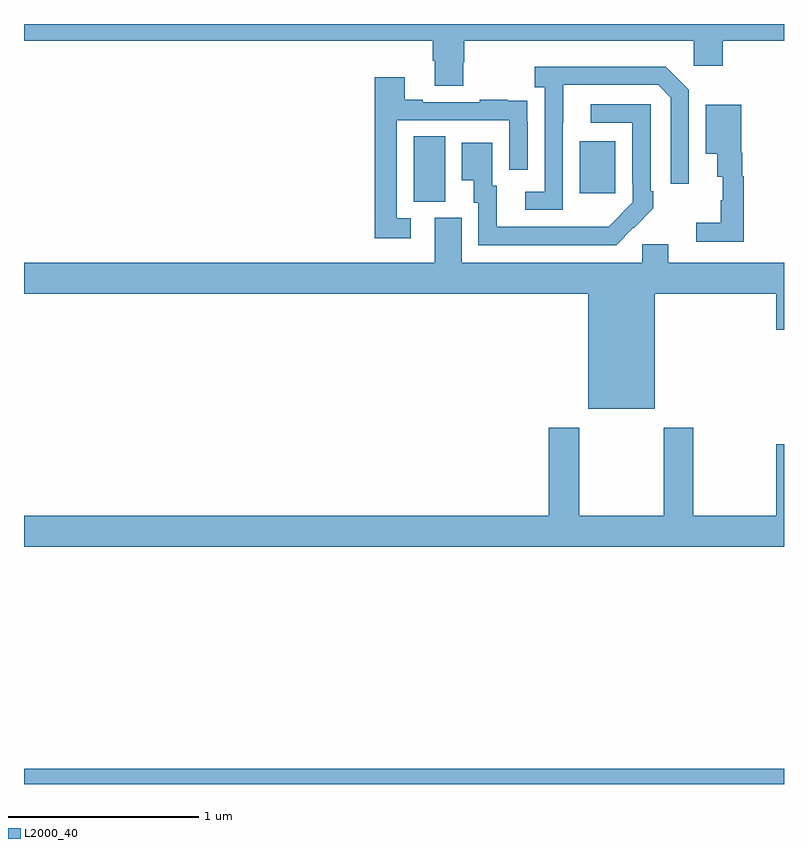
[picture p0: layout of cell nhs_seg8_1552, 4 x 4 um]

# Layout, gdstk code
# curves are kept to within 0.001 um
import gdstk
lib = gdstk.Library(unit=1e-6, precision=1e-09)
def R(c, l, rs):  # rectangles x0, y0, x1, y1
    for r in rs: c.add(gdstk.rectangle(r[:2], r[2:], *l))
def P(c, l, *ps):  # polygons
    for p in ps: c.add(gdstk.Polygon(p, *l))
L2000_40 = (2000, 40)

nhs_seg8_1552 = lib.new_cell('nhs_seg8_1552')
R(nhs_seg8_1552, L2000_40, [(209,1133.9,213,1133.98), (211.052,1136.965,211.216,1137.308), (211.925,1137.009,212.113,1137.283)])
P(nhs_seg8_1552, L2000_40, [(209,1137.812),(211.151,1137.812),(211.151,1137.706),(211.163,1137.706),(211.163,1137.574),(211.311,1137.574),(211.311,1137.699),(211.316,1137.699),(211.316,1137.812),(212.526,1137.812),(212.526,1137.681),(212.678,1137.681),(212.678,1137.812),(213,1137.812),(213,1137.9),(209,1137.9)],
  [(211.836,1137.379),(211.837,1137.579),(212.337,1137.579),(212.403,1137.513),(212.403,1137.06),(212.499,1137.06),(212.499,1137.555),(212.378,1137.676),(211.689,1137.676),(211.689,1137.566),(211.74,1137.566),(211.74,1137.018),(211.638,1137.018),(211.638,1136.922),(211.836,1136.922)],
  [(211.036,1136.877),(210.963,1136.877),(210.963,1137.393),(211.554,1137.393),(211.554,1137.132),(211.65,1137.132),(211.65,1137.386),(211.649,1137.386),(211.649,1137.495),(211.547,1137.495),(211.547,1137.502),(211.399,1137.502),(211.399,1137.489),(211.099,1137.489),(211.099,1137.502),(211.003,1137.502),(211.003,1137.619),(210.847,1137.619),(210.847,1136.772),(211.036,1136.772)],
  [(212.207,1136.827),(212.208,1136.826),(212.313,1136.931),(212.313,1137.019),(212.298,1137.019),(212.298,1137.477),(211.983,1137.477),(211.983,1137.381),(212.202,1137.381),(212.202,1137.061),(212.205,1137.061),(212.205,1136.961),(212.077,1136.833),(211.489,1136.832),(211.489,1137.048),(211.465,1137.048),(211.465,1137.274),(211.304,1137.274),(211.304,1137.077),(211.367,1137.077),(211.367,1136.958),(211.392,1136.958),(211.392,1136.736),(212.116,1136.736)],
  [(212.788,1137.099),(212.78,1137.099),(212.78,1137.222),(212.776,1137.222),(212.776,1137.475),(212.588,1137.475),(212.588,1137.218),(212.648,1137.218),(212.648,1137.095),(212.678,1137.095),(212.678,1136.973),(212.667,1136.973),(212.667,1136.853),(212.538,1136.853),(212.538,1136.754),(212.788,1136.754)],
  [(212.32,1136.48),(212.96,1136.48),(212.96,1136.292),(213,1136.292),(213,1136.644),(212.392,1136.644),(212.392,1136.742),(212.253,1136.742),(212.253,1136.644),(211.303,1136.644),(211.303,1136.88),(211.163,1136.88),(211.163,1136.644),(209,1136.644),(209,1136.48),(211.97,1136.48),(211.97,1135.874),(212.32,1135.874)],
  [(213,1135.687),(212.96,1135.687),(212.96,1135.312),(212.523,1135.312),(212.523,1135.774),(212.368,1135.774),(212.368,1135.312),(211.923,1135.312),(211.923,1135.774),(211.763,1135.774),(211.763,1135.312),(209,1135.312),(209,1135.148),(213,1135.148)])

lib.write_gds('nhs_seg8_1552.gds')
